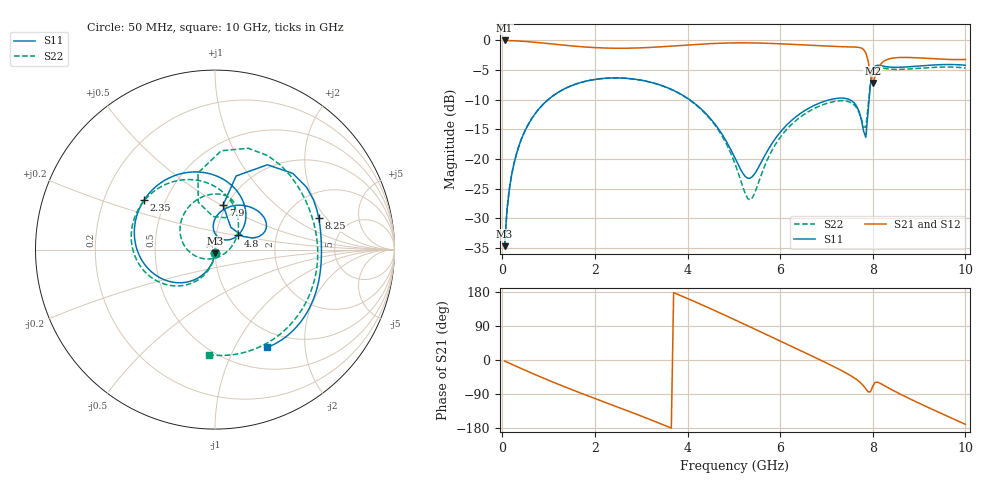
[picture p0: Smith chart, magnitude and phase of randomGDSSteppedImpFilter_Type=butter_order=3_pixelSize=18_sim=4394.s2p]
! freq	dB(S11)	phase(S11)	dB(S12)	phase(S12)
!  dB(S21)	phase(S21)	dB(S22)	phase(S22)
!S-par simulation data
#  GHz  S  DB  R 50
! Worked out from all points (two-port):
!   200 points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, 50 MHz to 10 GHz, reference 50 ohm
!   highest |S21| = 0.00 dB at 50 MHz (marker M1); lowest = -7.2 dB at 8 GHz (marker M2)
!   |S21| within 3 dB of the highest: start of sweep to 7.883 GHz; 8.416 GHz to 9.125 GHz (708.9 MHz wide, 8.08 % of centre)
!   lowest |S11| = -34.7 dB at 50 MHz (marker M3), VSWR 1.04, Z = 49.9 - j1.83 ohm
!   |S11| at or under -10 dB: start of sweep to 989 MHz; 4.044 GHz to 7.073 GHz (3.029 GHz wide, 54.5 % of centre); 7.502 GHz to 7.922 GHz (419.4 MHz wide, 5.44 % of centre)
!   |S22| runs from -34.7 to -4.4 dB; largest |S21 - S12| = 0
!   S11 on the Smith chart (normalised r, x): 50 MHz: 1.00, -0.04; 2.35 GHz: 0.38, +0.27; 4.8 GHz: 1.27, +0.21; 7.9 GHz: 0.96, +0.51; 8.25 GHz: 3.05, +1.67; 10 GHz: 0.77, -1.36
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0.05  -34.71 -92.9  -0.00 -2.8  -0.00 -2.8  -34.71 -92.6
0.2  -22.75 -102.0  -0.04 -11.1  -0.04 -11.1  -22.74 -100.8
0.5  -15.09 -119.4  -0.17 -27.4  -0.17 -27.4  -15.09 -116.5
1.1  -9.31 -152.4  -0.62 -58.6  -0.62 -58.6  -9.31 -146.0
1.75  -6.98 174.3  -1.09 -90.0  -1.09 -90.0  -6.98 -175.4
2.35  -6.34 144.9  -1.31 -117.7  -1.31 -117.7  -6.34 158.7
3.4  -7.50 93.2  -1.09 -167.2  -1.09 -167.2  -7.51 112.1
4.1  -10.31 58.4  -0.72 157.0  -0.72 157.0  -10.37 76.9
4.8  -16.52 32.0  -0.45 118.6  -0.45 118.6  -16.88 31.7
5.05  -20.25 34.5  -0.41 104.5  -0.41 104.5  -21.34 5.2
5.35  -23.25 67.3  -0.41 87.4  -0.41 87.4  -26.91 -71.1
5.95  -15.99 91.8  -0.55 53.0  -0.55 53.0  -16.93 -174.8
6.7  -11.10 62.5  -0.85 9.8  -0.85 9.8  -11.63 131.7
7.5  -9.99 25.0  -1.09 -39.6  -1.09 -39.6  -10.39 75.6
7.85  -16.36 54.5  -2.10 -76.1  -2.10 -76.1  -14.66 93.5
7.9  -11.98 79.7  -3.48 -84.0  -3.48 -84.0  -11.07 109.5
8  -5.11 58.3  -7.18 -69.2  -7.18 -69.2  -5.17 86.4
8.1  -4.19 34.3  -4.97 -58.4  -4.97 -58.4  -4.43 60.6
8.25  -4.38 16.8  -3.45 -67.6  -3.45 -67.6  -4.70 39.0
8.35  -4.49 9.5  -3.12 -74.4  -3.12 -74.4  -4.82 28.7
9.05  -4.28 -23.6  -2.97 -116.9  -2.97 -116.9  -4.66 -27.1
10  -4.19 -62.0  -3.21 -169.8  -3.21 -169.8  -4.64 -93.5
